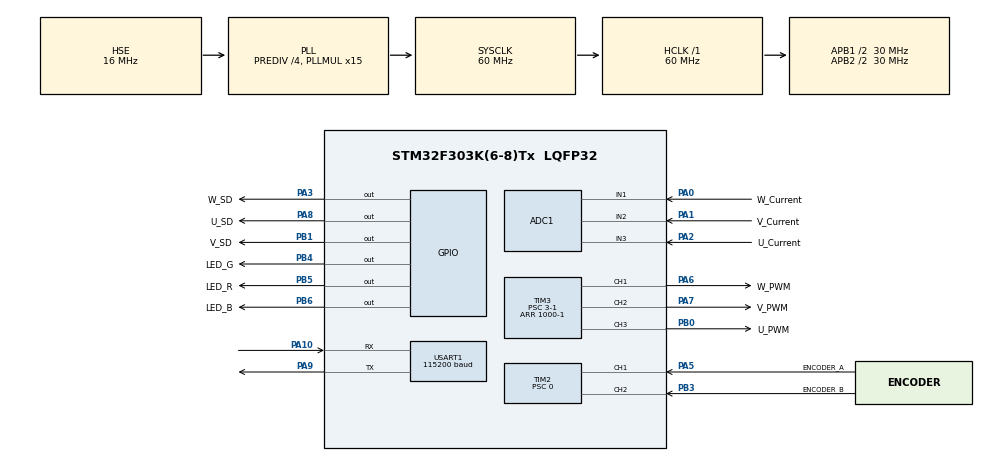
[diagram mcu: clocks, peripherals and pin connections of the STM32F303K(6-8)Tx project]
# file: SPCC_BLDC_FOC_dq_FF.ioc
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ADC1.Channel-0\#ChannelRegularConversion=ADC_CHANNEL_1
ADC1.Channel-1\#ChannelRegularConversion=ADC_CHANNEL_2
ADC1.Channel-2\#ChannelRegularConversion=ADC_CHANNEL_3
ADC1.DMAContinuousRequests=ENABLE
ADC1.EOCSelection=ADC_EOC_SEQ_CONV
ADC1.ExternalTrigConv=ADC_EXTERNALTRIGCONV_T3_TRGO
ADC1.NbrOfConversion=3
ADC1.NbrOfConversionFlag=1
ADC1.Offset-1\#ChannelRegularConversion=0
ADC1.Offset-2\#ChannelRegularConversion=0
ADC1.OffsetNumber-1\#ChannelRegularConversion=ADC_OFFSET_NONE
ADC1.OffsetNumber-2\#ChannelRegularConversion=ADC_OFFSET_NONE
ADC1.Rank-1\#ChannelRegularConversion=2
ADC1.Rank-2\#ChannelRegularConversion=3
ADC1.SamplingTime-0\#ChannelRegularConversion=ADC_SAMPLETIME_19CYCLES_5
ADC1.SamplingTime-1\#ChannelRegularConversion=ADC_SAMPLETIME_19CYCLES_5
ADC1.SamplingTime-2\#ChannelRegularConversion=ADC_SAMPLETIME_19CYCLES_5
ADC1.SubFamily=STM32F303x8
ADC1.master=1
Dma.ADC1.0.Direction=DMA_PERIPH_TO_MEMORY
Dma.ADC1.0.Instance=DMA1_Channel1
Dma.ADC1.0.MemDataAlignment=DMA_MDATAALIGN_HALFWORD
Dma.ADC1.0.MemInc=DMA_MINC_ENABLE
Dma.ADC1.0.Mode=DMA_CIRCULAR
Dma.ADC1.0.PeriphDataAlignment=DMA_PDATAALIGN_HALFWORD
Dma.ADC1.0.PeriphInc=DMA_PINC_DISABLE
Dma.ADC1.0.Priority=DMA_PRIORITY_LOW
Dma.Request0=ADC1
Mcu.Family=STM32F3
Mcu.Name=STM32F303K(6-8)Tx
Mcu.Package=LQFP32
NVIC.DMA1_Channel1_IRQn=true\:1\:0\:true\:false\:true\:false\:true\:true
NVIC.PriorityGroup=NVIC_PRIORITYGROUP_4
NVIC.TIM1_UP_TIM16_IRQn=true\:0\:0\:false\:false\:true\:true\:true\:true
NVIC.TIM3_IRQn=true\:0\:0\:false\:false\:true\:true\:true\:true
PA0.GPIO_Label=W_Current
PA0.Mode=IN1-Single-Ended
PA0.Signal=ADC1_IN1
PA1.GPIO_Label=V_Current
PA1.GPIO_Mode=GPIO_MODE_ANALOG
PA1.GPIO_PuPd=GPIO_NOPULL
PA1.Mode=IN2-Single-Ended
PA1.Signal=ADC1_IN2
PA10.Mode=Asynchronous
PA10.Signal=USART1_RX
PA13.Mode=Serial_Wire
PA13.Signal=SYS_JTMS-SWDIO
PA14.Mode=Serial_Wire
PA14.Signal=SYS_JTCK-SWCLK
PA2.GPIO_Label=U_Current
PA2.GPIO_Mode=GPIO_MODE_ANALOG
PA2.GPIO_PuPd=GPIO_NOPULL
PA2.Mode=IN3-Single-Ended
PA2.Signal=ADC1_IN3
PA3.GPIO_Label=W_SD
PA3.Signal=GPIO_Output
PA5.GPIO_Label=ENCODER_A
PA5.GPIO_PuPd=GPIO_PULLUP
PA5.Signal=S_TIM2_CH1_ETR
PA6.GPIO_Label=W_PWM
PA6.Signal=S_TIM3_CH1
PA7.GPIO_Label=V_PWM
PA7.Signal=S_TIM3_CH2
PA8.GPIO_Label=U_SD
PA8.Signal=GPIO_Output
PA9.Mode=Asynchronous
PA9.Signal=USART1_TX
PB0.GPIO_Label=U_PWM
PB0.Signal=S_TIM3_CH3
PB1.GPIO_Label=V_SD
PB1.Signal=GPIO_Output
PB3.GPIO_Label=ENCODER_B
PB3.GPIO_PuPd=GPIO_PULLUP
PB3.Signal=S_TIM2_CH2
PB4.GPIO_Label=LED_G
PB4.Signal=GPIO_Output
PB5.GPIO_Label=LED_R
PB5.Signal=GPIO_Output
PB6.GPIO_Label=LED_B
PB6.Signal=GPIO_Output
PF0\ /\ OSC_IN.Mode=HSE-External-Oscillator
PF0\ /\ OSC_IN.Signal=RCC_OSC_IN
PF1\ /\ OSC_OUT.Mode=HSE-External-Oscillator
PF1\ /\ OSC_OUT.Signal=RCC_OSC_OUT
ProjectManager.HeapSize=0x200
ProjectManager.StackSize=0x400
ProjectManager.TargetToolchain=STM32CubeIDE
RCC.AHBFreq_Value=60000000
RCC.APB1CLKDivider=RCC_HCLK_DIV2
RCC.APB1Freq_Value=30000000
RCC.APB1TimFreq_Value=60000000
RCC.APB2CLKDivider=RCC_HCLK_DIV2
RCC.APB2Freq_Value=30000000
RCC.APB2TimFreq_Value=60000000
RCC.CortexFreq_Value=60000000
RCC.HCLKFreq_Value=60000000
RCC.HSE_VALUE=16000000
RCC.HSI_VALUE=8000000
RCC.PLLMUL=RCC_PLL_MUL15
RCC.PLLSourceVirtual=RCC_PLLSOURCE_HSE
RCC.RCC_PLLsource_Clock_Source_FROM_HSE=RCC_HSE_PREDIV_DIV4
RCC.SYSCLKFreq_VALUE=60000000
RCC.SYSCLKSourceVirtual=RCC_SYSCLKSOURCE_PLLCLK
SH.S_TIM2_CH1_ETR.0=TIM2_CH1,Encoder_Interface
SH.S_TIM2_CH2.0=TIM2_CH2,Encoder_Interface
SH.S_TIM3_CH1.0=TIM3_CH1,PWM Generation1 CH1
SH.S_TIM3_CH2.0=TIM3_CH2,PWM Generation2 CH2
SH.S_TIM3_CH3.0=TIM3_CH3,PWM Generation3 CH3
TIM1.Period=1000-1
TIM1.Prescaler=60-1
TIM2.EncoderMode=TIM_ENCODERMODE_TI12
TIM2.IC1Filter=5
TIM2.IC1Polarity=TIM_ICPOLARITY_FALLING
TIM2.IC1Prescaler=TIM_ICPSC_DIV1
TIM2.IC2Filter=5
TIM2.IC2Polarity=TIM_ICPOLARITY_RISING
TIM2.IC2Prescaler=TIM_ICPSC_DIV1
TIM2.Period=20480 -1
TIM2.Prescaler=0
TIM3.Channel-PWM\ Generation1\ CH1=TIM_CHANNEL_1
TIM3.Channel-PWM\ Generation2\ CH2=TIM_CHANNEL_2
TIM3.Channel-PWM\ Generation3\ CH3=TIM_CHANNEL_3
TIM3.CounterMode=TIM_COUNTERMODE_CENTERALIGNED1
TIM3.Period=1000-1
TIM3.Prescaler=3-1
TIM3.TIM_MasterOutputTrigger=TIM_TRGO_UPDATE
TIM3.TIM_MasterSlaveMode=TIM_MASTERSLAVEMODE_ENABLE
USART1.BaudRate=115200
USART1.VirtualMode-Asynchronous=VM_ASYNC
VP_TIM1_VS_ClockSourceINT.Mode=Internal
VP_TIM3_VS_ClockSourceINT.Mode=Internal
board=custom

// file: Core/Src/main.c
/* USER CODE BEGIN Header */
/**
  ******************************************************************************
  * @file           : main.c
  * @brief          : Main program body
  ******************************************************************************
  * @attention
  *
  * Copyright (c) 2026 STMicroelectronics.
  * All rights reserved.
  *
  * This software is licensed under terms that can be found in the LICENSE file
  * in the root directory of this software component.
  * If no LICENSE file comes with this software, it is provided AS-IS.
  *
  ******************************************************************************
  */
/* USER CODE END Header */
#include "main.h"

/* USER CODE BEGIN Includes */

#include <stdio.h>
#include <math.h>
#include <stdbool.h>

/* USER CODE END Includes */

/* USER CODE BEGIN PTD */

typedef struct{
	float kp;
	float ki;
	float goal;
	float now_value;
	float error;
	float error_integral;
	float error_integral_temp;
	float integral_limit;
}PI_t;

typedef struct{
	float kp;
	float ki;
	float kd;
	float goal;
	float now_value;
	float error;
	float error_old;
	float error_integral;
	float error_integral_temp;
	float integral_limit;
}PID_t;

/* USER CODE END PTD */

/* USER CODE BEGIN PM */

//PWMの使用タイマ
#define MOTOR_PWM_TIMER htim3
//各チャンネル
#define U_PHASE_PWM_CHANNEL TIM_CHANNEL_3
#define V_PHASE_PWM_CHANNEL TIM_CHANNEL_2
#define W_PHASE_PWM_CHANNEL TIM_CHANNEL_1

//PWM出力関数
#define SET_PWM_DUTY(PHASE, DUTY) __HAL_TIM_SET_COMPARE(&MOTOR_PWM_TIMER, PHASE##_PHASE_PWM_CHANNEL, DUTY)

#define SQRT3_OVER_2 0.8660254f
#define ONE_OVER_SQRT3 0.57735026f
#define PI 3.1415f

/* USER CODE END PM */

ADC_HandleTypeDef hadc1;
DMA_HandleTypeDef hdma_adc1;

TIM_HandleTypeDef htim1;
TIM_HandleTypeDef htim2;
TIM_HandleTypeDef htim3;

UART_HandleTypeDef huart1;

/* USER CODE BEGIN PV */

/*	モーターの定数	*/
//極対数
int pole_pairs = 11;

/*	角度関係	*/
//現在のエンコーダーのカウント
uint16_t cnt_now = 0;

//1回前のエンコーダーのカウント
uint16_t cnt_old = 0;

//回転した回数
int revolution_count = 0;

//エンコーダーが1回のループでどれだけ回転したら1回転したとみなすかのしきい値
int revolution_threshold_num = 10000;

//現在のラジアン角
float degree = 0;

//現在のラジアン機械角
float degree_e = 0;

//機械角に対するsin,cos
float degree_e_sin = 0;
float degree_e_cos = 0;

/*	電流センシング関係	   */

//DMAから送られてくる生のDMAの値
volatile uint16_t adc_raw[3] = {0};

//モーター停止時の電流センサにかかるオフセット電圧
int adc_offset[3] = {0};

//オフセットの平均値の計算に使用
int offset_count = 0;
int offset_ave_num = 30;
volatile bool offset_done_flag = false;

//現在の電流値
volatile float I_u = 0;
volatile float I_v = 0;
volatile float I_w = 0;

//電流の総和
float I_sum = 0;

/* ベクトル制御用変数 */
//dq電流
float Id = 0.0;
float Iq = 0.0;

//αβ電流
float Ia = 0.0;
float Ib = 0.0;

//dq電圧
float Vd = 0.0;
float Vq = 0.0;

//αβ電圧
float Va = 0.0;
float Vb = 0.0;

//PWM
int U_PWM = 0;
int V_PWM = 0;
int W_PWM = 0;

int Amp_PWM_MAX = 300;

//PI制御用構造体
PI_t Id_PI;
PI_t Iq_PI;

volatile bool tim1_flag = false;
volatile bool tim3_flag = false;
volatile bool zero_set_flag = false;

//ログ用
#define LOG_SIZE 500
float dq_log[2][LOG_SIZE] = {0};
int log_index = 0;
int log_prescaler = 0;
volatile bool logging_active = false;

/*	位置PID用変数	*/
PID_t Place_PID;

float test_theta = 0.0;

/* USER CODE END PV */

void SystemClock_Config(void);
static void MX_GPIO_Init(void);
static void MX_DMA_Init(void);
static void MX_ADC1_Init(void);
static void MX_TIM3_Init(void);
static void MX_USART1_UART_Init(void);
static void MX_TIM2_Init(void);
static void MX_TIM1_Init(void);
/* USER CODE BEGIN PFP */
int constrain(int num, int min, int max);
float constrainf(float num, float min, float max);
int _write(int file, char *ptr, int len);
void clarke_transform(void);
void park_transform(void);
void inv_clarke_transform(void);
void inv_park_transform(void);
float PI_Control(PI_t *hPI);
/* USER CODE END PFP */

/* USER CODE BEGIN 0 */

int constrain(int num, int min, int max){
	if(num > max){
		return max;
	}
	else if(min > num){
		return min;
	}
	else{
		return num;
	}
}

float constrainf(float num, float min, float max){
	if(num > max){
		return max;
	}
	else if(min > num){
		return min;
	}
	else{
		return num;
	}
}

//printfおまじない
int _write(int file, char *ptr, int len)
{
  HAL_UART_Transmit(&huart1,(uint8_t *)ptr,len,10);
  return len;
}

void HAL_TIM_PeriodElapsedCallback(TIM_HandleTypeDef *htim)
{
    if(htim == &htim1){
    	tim1_flag = true;
    }

    if(htim == &htim3){
    	tim3_flag = true;
    }
}

//ADCのDAM割り込み！
void HAL_ADC_ConvCpltCallback(ADC_HandleTypeDef* hadc)
{
    if (hadc->Instance == ADC1 && !zero_set_flag) {
    	if(__HAL_TIM_GET_COUNTER(&htim3) < 500){
        	//オフセット検出モードか、電流センシングモードか
        	if(offset_done_flag == false){
        		adc_offset[0] += adc_raw[0];
        		adc_offset[1] += adc_raw[1];
        		adc_offset[2] += adc_raw[2];

        		offset_count++;

        		if(offset_count >= offset_ave_num){
    				adc_offset[0] = adc_offset[0] / offset_ave_num;
    				adc_offset[1] = adc_offset[1] / offset_ave_num;
    				adc_offset[2] = adc_offset[2] / offset_ave_num;
        			offset_done_flag = true;
        		}
        	}
        	else{
        		//(3.3 / 4096.0)) / 0.05 = 0.01611
        		I_u = (float)(adc_raw[2] - adc_offset[2]) * 0.01611f;
        		I_v = (float)(adc_raw[1] - adc_offset[1]) * 0.01611f;
        		I_w = (float)(adc_raw[0] - adc_offset[0]) * 0.01611f;
        		I_sum = I_u + I_v + I_w;

				/*	現在のカウントを取得	*/
				cnt_now = __HAL_TIM_GET_COUNTER(&htim2);

				/*	ラジアン角を算出して、ついでに電気角も算出！	*/
				degree = (float)(cnt_now / 20480.0f) * 2.0f * PI;
				degree_e = (float)degree * (float)pole_pairs;
				degree_e_sin = sinf(degree_e);
				degree_e_cos = cosf(degree_e);

				HAL_GPIO_TogglePin(LED_R_GPIO_Port, LED_R_Pin);

				//Iu,Iv,Iw -> Iα,Iβ
				clarke_transform();
				//Iα,Iβ -> Id,Iq
				park_transform();

				//Id,IqをPI制御
				Vd = PI_Control(&Id_PI);
				Vq = PI_Control(&Iq_PI);

				// ★ ログ記録 (10kHzを100Hzに間引いて500件保存)
				if (logging_active && log_index < LOG_SIZE) {
					log_prescaler++;
					if (log_prescaler >= 100) {
						log_prescaler = 0;
						dq_log[0][log_index] = Id;
						dq_log[1][log_index] = Iq;
						log_index++;
					}
				}

				//Vd,Vq -> Vα,Vβ
				inv_park_transform();

				Va = Va * (500.0f / 12.0f);
				Vb = Vb * (500.0f / 12.0f);

				//Vα,Vβ -> Vu,Vv,Vw
				inv_clarke_transform();

				U_PWM = constrain(U_PWM, -Amp_PWM_MAX, Amp_PWM_MAX);
				V_PWM = constrain(V_PWM, -Amp_PWM_MAX, Amp_PWM_MAX);
				W_PWM = constrain(W_PWM, -Amp_PWM_MAX, Amp_PWM_MAX);

				//PWMをセット
				SET_PWM_DUTY(U, 500 + U_PWM);
				SET_PWM_DUTY(V, 500 + V_PWM);
				SET_PWM_DUTY(W, 500 + W_PWM);
        	}
    	}
    }
}

//clarke変換
void clarke_transform(){
	Ia = I_u;
	Ib = (I_u + 2.0f * I_v) * ONE_OVER_SQRT3;
}

//park変換
void park_transform(){
	Id = Ia * degree_e_cos + Ib * degree_e_sin;
	Iq = -Ia * degree_e_sin + Ib * degree_e_cos;

	Id_PI.now_value = Id;
	Iq_PI.now_value = Iq;
}

//逆clarke変換
void inv_clarke_transform(){
	U_PWM = (int)Va;
	V_PWM = (int)((SQRT3_OVER_2 * Vb - Va * 0.5f));
	W_PWM = (int)((-SQRT3_OVER_2 * Vb - Va * 0.5f));
}

//逆park変換
void inv_park_transform(){
	Va = Vd * degree_e_cos - Vq * degree_e_sin;
	Vb = Vd * degree_e_sin + Vq * degree_e_cos;
}

//PI制御
float PI_Control(PI_t *hPI){
	hPI->error = hPI->goal - hPI->now_value;
	hPI->error_integral += hPI->error * hPI->ki;

	// アンチワインドアップ（本体を直接制限する）
	if(hPI->error_integral > hPI->integral_limit){
		hPI->error_integral = hPI->integral_limit;
	}
	else if(hPI->error_integral < -hPI->integral_limit){
		hPI->error_integral = -hPI->integral_limit;
	}

	return (hPI->kp * hPI->error + hPI->error_integral);
}

/* USER CODE END 0 */

int main(void)
{

  /* USER CODE BEGIN 1 */
  setbuf(stdout, NULL);
  /* USER CODE END 1 */

  /* MCU Configuration--------------------------------------------------------*/

  /* Reset of all peripherals, Initializes the Flash interface and the Systick. */
  HAL_Init();

  /* Configure the system clock */
  SystemClock_Config();

  /* Initialize all configured peripherals */
  MX_GPIO_Init();
  MX_DMA_Init();
  MX_ADC1_Init();
  MX_TIM3_Init();
  MX_USART1_UART_Init();
  MX_TIM2_Init();
  MX_TIM1_Init();
  /* USER CODE BEGIN 2 */

  /*	前処理スタート	*/

  HAL_Delay(5000);

  //全IR2302をロック(安全のため！)
  HAL_GPIO_WritePin(U_SD_GPIO_Port, U_SD_Pin, RESET);
  HAL_GPIO_WritePin(V_SD_GPIO_Port, V_SD_Pin, RESET);
  HAL_GPIO_WritePin(W_SD_GPIO_Port, W_SD_Pin, RESET);

  //ADCのキャリブレーション
  HAL_ADCEx_Calibration_Start(&hadc1, ADC_SINGLE_ENDED);

  //PWMスタート
  HAL_TIM_PWM_Start(&MOTOR_PWM_TIMER, U_PHASE_PWM_CHANNEL);
  HAL_TIM_PWM_Start(&MOTOR_PWM_TIMER, V_PHASE_PWM_CHANNEL);
  HAL_TIM_PWM_Start(&MOTOR_PWM_TIMER, W_PHASE_PWM_CHANNEL);

  //全IR2302のロックを解除
  HAL_GPIO_WritePin(U_SD_GPIO_Port, U_SD_Pin, SET);
  HAL_GPIO_WritePin(V_SD_GPIO_Port, V_SD_Pin, SET);
  HAL_GPIO_WritePin(W_SD_GPIO_Port, W_SD_Pin, SET);

  //回転を固定
  SET_PWM_DUTY(U, 500);
  SET_PWM_DUTY(V, 500);
  SET_PWM_DUTY(W, 500);

  //ADCをDMAモードで待機！
  if (HAL_ADC_Start_DMA(&hadc1, (uint32_t*)adc_raw, 3) != HAL_OK)
  {
	  Error_Handler();
  }

  while(offset_done_flag == false){
	  //オフセット電圧検出待ち...
  }

  zero_set_flag = true;

  /*	電気角のリセット	*/

  //電流方向U->Vのときを電気角0[rad]と定義
  SET_PWM_DUTY(U, 700);
  SET_PWM_DUTY(V, 500);
  SET_PWM_DUTY(W, 500);

  //固定待ち...
  HAL_Delay(700);

  zero_set_flag = false;

  //0カウントをセット
  __HAL_TIM_SET_COUNTER(&htim2, 0);

  //エンコーダースタート！
  HAL_TIM_Encoder_Start(&htim2, TIM_CHANNEL_ALL);

  //全IR2302のロックを解除
  HAL_GPIO_WritePin(U_SD_GPIO_Port, U_SD_Pin, SET);
  HAL_GPIO_WritePin(V_SD_GPIO_Port, V_SD_Pin, SET);
  HAL_GPIO_WritePin(W_SD_GPIO_Port, W_SD_Pin, SET);

  //回転を固定
  SET_PWM_DUTY(U, 500);
  SET_PWM_DUTY(V, 500);
  SET_PWM_DUTY(W, 500);

  //制御用タイマ割り込みスタート
  HAL_TIM_Base_Start_IT(&htim1);
  __HAL_TIM_ENABLE_IT(&htim3, TIM_IT_UPDATE);
  /*	FOCスタート		*/

  //d軸電流のパラメータを設定
  Id_PI.goal = 0.0f;
  Id_PI.kp = 2.0f;
  Id_PI.ki = 0.7f;
  Id_PI.integral_limit = 10.0f;

  //q軸電流のパラメータを設定
  Iq_PI.goal = 1.0f;
  Iq_PI.kp = 2.0f;
  Iq_PI.ki = 0.7f;
  Iq_PI.integral_limit = 10.0f;

  // ログ記録スタート
	logging_active = true;

	// 5秒間FOCで回す
	HAL_Delay(5000);

	// 5秒経過したら止める（安全のためにIq=0にしてIR2302をシャットダウン）
	logging_active = false;
	Iq_PI.goal = 0.0f;

	HAL_GPIO_WritePin(U_SD_GPIO_Port, U_SD_Pin, RESET);
	HAL_GPIO_WritePin(V_SD_GPIO_Port, V_SD_Pin, RESET);
	HAL_GPIO_WritePin(W_SD_GPIO_Port, W_SD_Pin, RESET);
	SET_PWM_DUTY(U, 0);
	SET_PWM_DUTY(V, 0);
	SET_PWM_DUTY(W, 0);

	// 溜め込んだdq軸電流のログをUARTで一気に吐き出す
	printf("Id, Iq\r\n");
	for(int i = 0; i < LOG_SIZE; i++){
		printf("%f, %f\r\n", dq_log[0][i], dq_log[1][i]);
		HAL_Delay(2); // UARTのバッファ溢れ（文字化け）防止
	}
  /* USER CODE END 2 */

  /* Infinite loop */
  while (1)
  {

  }
}

void SystemClock_Config(void)
{
  RCC_OscInitTypeDef RCC_OscInitStruct = {0};
  RCC_ClkInitTypeDef RCC_ClkInitStruct = {0};
  RCC_PeriphCLKInitTypeDef PeriphClkInit = {0};

  /** Initializes the RCC Oscillators according to the specified parameters
  * in the RCC_OscInitTypeDef structure.
  */
  RCC_OscInitStruct.OscillatorType = RCC_OSCILLATORTYPE_HSE;
  RCC_OscInitStruct.HSEState = RCC_HSE_ON;
  RCC_OscInitStruct.HSEPredivValue = RCC_HSE_PREDIV_DIV4;
  RCC_OscInitStruct.HSIState = RCC_HSI_ON;
  RCC_OscInitStruct.PLL.PLLState = RCC_PLL_ON;
  RCC_OscInitStruct.PLL.PLLSource = RCC_PLLSOURCE_HSE;
  RCC_OscInitStruct.PLL.PLLMUL = RCC_PLL_MUL15;
  if (HAL_RCC_OscConfig(&RCC_OscInitStruct) != HAL_OK)
  {
    Error_Handler();
  }

  /** Initializes the CPU, AHB and APB buses clocks
  */
  RCC_ClkInitStruct.ClockType = RCC_CLOCKTYPE_HCLK|RCC_CLOCKTYPE_SYSCLK
                              |RCC_CLOCKTYPE_PCLK1|RCC_CLOCKTYPE_PCLK2;
  RCC_ClkInitStruct.SYSCLKSource = RCC_SYSCLKSOURCE_PLLCLK;
  RCC_ClkInitStruct.AHBCLKDivider = RCC_SYSCLK_DIV1;
  RCC_ClkInitStruct.APB1CLKDivider = RCC_HCLK_DIV2;
  RCC_ClkInitStruct.APB2CLKDivider = RCC_HCLK_DIV2;

  if (HAL_RCC_ClockConfig(&RCC_ClkInitStruct, FLASH_LATENCY_2) != HAL_OK)
  {
    Error_Handler();
  }
  PeriphClkInit.PeriphClockSelection = RCC_PERIPHCLK_USART1|RCC_PERIPHCLK_TIM1
                              |RCC_PERIPHCLK_ADC12;
  PeriphClkInit.Usart1ClockSelection = RCC_USART1CLKSOURCE_PCLK1;
  PeriphClkInit.Adc12ClockSelection = RCC_ADC12PLLCLK_DIV1;
  PeriphClkInit.Tim1ClockSelection = RCC_TIM1CLK_HCLK;
  if (HAL_RCCEx_PeriphCLKConfig(&PeriphClkInit) != HAL_OK)
  {
    Error_Handler();
  }
}

static void MX_ADC1_Init(void)
{

  ADC_MultiModeTypeDef multimode = {0};
  ADC_ChannelConfTypeDef sConfig = {0};

  /** Common config
  */
  hadc1.Instance = ADC1;
  hadc1.Init.ClockPrescaler = ADC_CLOCK_ASYNC_DIV1;
  hadc1.Init.Resolution = ADC_RESOLUTION_12B;
  hadc1.Init.ScanConvMode = ADC_SCAN_ENABLE;
  hadc1.Init.ContinuousConvMode = DISABLE;
  hadc1.Init.DiscontinuousConvMode = DISABLE;
  hadc1.Init.ExternalTrigConvEdge = ADC_EXTERNALTRIGCONVEDGE_RISING;
  hadc1.Init.ExternalTrigConv = ADC_EXTERNALTRIGCONV_T3_TRGO;
  hadc1.Init.DataAlign = ADC_DATAALIGN_RIGHT;
  hadc1.Init.NbrOfConversion = 3;
  hadc1.Init.DMAContinuousRequests = ENABLE;
  hadc1.Init.EOCSelection = ADC_EOC_SEQ_CONV;
  hadc1.Init.LowPowerAutoWait = DISABLE;
  hadc1.Init.Overrun = ADC_OVR_DATA_OVERWRITTEN;
  if (HAL_ADC_Init(&hadc1) != HAL_OK)
  {
    Error_Handler();
  }

  /** Configure the ADC multi-mode
  */
  multimode.Mode = ADC_MODE_INDEPENDENT;
  if (HAL_ADCEx_MultiModeConfigChannel(&hadc1, &multimode) != HAL_OK)
  {
    Error_Handler();
  }

  /** Configure Regular Channel
  */
  sConfig.Channel = ADC_CHANNEL_2;
  sConfig.Rank = ADC_REGULAR_RANK_2;
  sConfig.SingleDiff = ADC_SINGLE_ENDED;
  sConfig.SamplingTime = ADC_SAMPLETIME_19CYCLES_5;
  sConfig.OffsetNumber = ADC_OFFSET_NONE;
  sConfig.Offset = 0;
  if (HAL_ADC_ConfigChannel(&hadc1, &sConfig) != HAL_OK)
  {
    Error_Handler();
  }

  /** Configure Regular Channel
  */
  sConfig.Channel = ADC_CHANNEL_3;
  sConfig.Rank = ADC_REGULAR_RANK_3;
  if (HAL_ADC_ConfigChannel(&hadc1, &sConfig) != HAL_OK)
  {
    Error_Handler();
  }

  /** Configure Regular Channel
  */
  sConfig.Channel = ADC_CHANNEL_1;
  sConfig.Rank = ADC_REGULAR_RANK_1;
  if (HAL_ADC_ConfigChannel(&hadc1, &sConfig) != HAL_OK)
  {
    Error_Handler();
  }

}

static void MX_TIM1_Init(void)
{

  TIM_ClockConfigTypeDef sClockSourceConfig = {0};
  TIM_MasterConfigTypeDef sMasterConfig = {0};

  htim1.Instance = TIM1;
  htim1.Init.Prescaler = 60-1;
  htim1.Init.CounterMode = TIM_COUNTERMODE_UP;
  htim1.Init.Period = 1000-1;
  htim1.Init.ClockDivision = TIM_CLOCKDIVISION_DIV1;
  htim1.Init.RepetitionCounter = 0;
  htim1.Init.AutoReloadPreload = TIM_AUTORELOAD_PRELOAD_DISABLE;
  if (HAL_TIM_Base_Init(&htim1) != HAL_OK)
  {
    Error_Handler();
  }
  sClockSourceConfig.ClockSource = TIM_CLOCKSOURCE_INTERNAL;
  if (HAL_TIM_ConfigClockSource(&htim1, &sClockSourceConfig) != HAL_OK)
  {
    Error_Handler();
  }
  sMasterConfig.MasterOutputTrigger = TIM_TRGO_RESET;
  sMasterConfig.MasterOutputTrigger2 = TIM_TRGO2_RESET;
  sMasterConfig.MasterSlaveMode = TIM_MASTERSLAVEMODE_DISABLE;
  if (HAL_TIMEx_MasterConfigSynchronization(&htim1, &sMasterConfig) != HAL_OK)
  {
    Error_Handler();
  }

}

static void MX_TIM2_Init(void)
{

  TIM_Encoder_InitTypeDef sConfig = {0};
  TIM_MasterConfigTypeDef sMasterConfig = {0};

  htim2.Instance = TIM2;
  htim2.Init.Prescaler = 0;
  htim2.Init.CounterMode = TIM_COUNTERMODE_UP;
  htim2.Init.Period = 20480 -1;
  htim2.Init.ClockDivision = TIM_CLOCKDIVISION_DIV1;
  htim2.Init.AutoReloadPreload = TIM_AUTORELOAD_PRELOAD_DISABLE;
  sConfig.EncoderMode = TIM_ENCODERMODE_TI12;
  sConfig.IC1Polarity = TIM_ICPOLARITY_FALLING;
  sConfig.IC1Selection = TIM_ICSELECTION_DIRECTTI;
  sConfig.IC1Prescaler = TIM_ICPSC_DIV1;
  sConfig.IC1Filter = 5;
  sConfig.IC2Polarity = TIM_ICPOLARITY_RISING;
  sConfig.IC2Selection = TIM_ICSELECTION_DIRECTTI;
  sConfig.IC2Prescaler = TIM_ICPSC_DIV1;
  sConfig.IC2Filter = 5;
  if (HAL_TIM_Encoder_Init(&htim2, &sConfig) != HAL_OK)
  {
    Error_Handler();
  }
  sMasterConfig.MasterOutputTrigger = TIM_TRGO_RESET;
  sMasterConfig.MasterSlaveMode = TIM_MASTERSLAVEMODE_DISABLE;
  if (HAL_TIMEx_MasterConfigSynchronization(&htim2, &sMasterConfig) != HAL_OK)
  {
    Error_Handler();
  }

}

static void MX_TIM3_Init(void)
{

  TIM_ClockConfigTypeDef sClockSourceConfig = {0};
  TIM_MasterConfigTypeDef sMasterConfig = {0};
  TIM_OC_InitTypeDef sConfigOC = {0};

  htim3.Instance = TIM3;
  htim3.Init.Prescaler = 3-1;
  htim3.Init.CounterMode = TIM_COUNTERMODE_CENTERALIGNED1;
  htim3.Init.Period = 1000-1;
  htim3.Init.ClockDivision = TIM_CLOCKDIVISION_DIV1;
  htim3.Init.AutoReloadPreload = TIM_AUTORELOAD_PRELOAD_DISABLE;
  if (HAL_TIM_Base_Init(&htim3) != HAL_OK)
  {
    Error_Handler();
  }
  sClockSourceConfig.ClockSource = TIM_CLOCKSOURCE_INTERNAL;
  if (HAL_TIM_ConfigClockSource(&htim3, &sClockSourceConfig) != HAL_OK)
  {
    Error_Handler();
  }
  if (HAL_TIM_PWM_Init(&htim3) != HAL_OK)
  {
    Error_Handler();
  }
  sMasterConfig.MasterOutputTrigger = TIM_TRGO_UPDATE;
  sMasterConfig.MasterSlaveMode = TIM_MASTERSLAVEMODE_ENABLE;
  if (HAL_TIMEx_MasterConfigSynchronization(&htim3, &sMasterConfig) != HAL_OK)
  {
    Error_Handler();
  }
  sConfigOC.OCMode = TIM_OCMODE_PWM1;
  sConfigOC.Pulse = 0;
  sConfigOC.OCPolarity = TIM_OCPOLARITY_HIGH;
  sConfigOC.OCFastMode = TIM_OCFAST_DISABLE;
  if (HAL_TIM_PWM_ConfigChannel(&htim3, &sConfigOC, TIM_CHANNEL_1) != HAL_OK)
  {
    Error_Handler();
  }
  if (HAL_TIM_PWM_ConfigChannel(&htim3, &sConfigOC, TIM_CHANNEL_2) != HAL_OK)
  {
    Error_Handler();
  }
  if (HAL_TIM_PWM_ConfigChannel(&htim3, &sConfigOC, TIM_CHANNEL_3) != HAL_OK)
  {
    Error_Handler();
  }
  HAL_TIM_MspPostInit(&htim3);

}

static void MX_USART1_UART_Init(void)
{

  huart1.Instance = USART1;
  huart1.Init.BaudRate = 115200;
  huart1.Init.WordLength = UART_WORDLENGTH_8B;
  huart1.Init.StopBits = UART_STOPBITS_1;
  huart1.Init.Parity = UART_PARITY_NONE;
  huart1.Init.Mode = UART_MODE_TX_RX;
  huart1.Init.HwFlowCtl = UART_HWCONTROL_NONE;
  huart1.Init.OverSampling = UART_OVERSAMPLING_16;
  huart1.Init.OneBitSampling = UART_ONE_BIT_SAMPLE_DISABLE;
  huart1.AdvancedInit.AdvFeatureInit = UART_ADVFEATURE_NO_INIT;
  if (HAL_UART_Init(&huart1) != HAL_OK)
  {
    Error_Handler();
  }

}

static void MX_DMA_Init(void)
{

  /* DMA controller clock enable */
  __HAL_RCC_DMA1_CLK_ENABLE();

  /* DMA interrupt init */
  /* DMA1_Channel1_IRQn interrupt configuration */
  HAL_NVIC_SetPriority(DMA1_Channel1_IRQn, 1, 0);
  HAL_NVIC_EnableIRQ(DMA1_Channel1_IRQn);

}

static void MX_GPIO_Init(void)
{
  GPIO_InitTypeDef GPIO_InitStruct = {0};

  /* GPIO Ports Clock Enable */
  __HAL_RCC_GPIOF_CLK_ENABLE();
  __HAL_RCC_GPIOA_CLK_ENABLE();
  __HAL_RCC_GPIOB_CLK_ENABLE();

  /*Configure GPIO pin Output Level */
  HAL_GPIO_WritePin(GPIOA, W_SD_Pin|U_SD_Pin, GPIO_PIN_RESET);

  /*Configure GPIO pin Output Level */
  HAL_GPIO_WritePin(GPIOB, V_SD_Pin|LED_G_Pin|LED_R_Pin|LED_B_Pin, GPIO_PIN_RESET);

  /*Configure GPIO pins : W_SD_Pin U_SD_Pin */
  GPIO_InitStruct.Pin = W_SD_Pin|U_SD_Pin;
  GPIO_InitStruct.Mode = GPIO_MODE_OUTPUT_PP;
  GPIO_InitStruct.Pull = GPIO_NOPULL;
  GPIO_InitStruct.Speed = GPIO_SPEED_FREQ_LOW;
  HAL_GPIO_Init(GPIOA, &GPIO_InitStruct);

  /*Configure GPIO pins : V_SD_Pin LED_G_Pin LED_R_Pin LED_B_Pin */
  GPIO_InitStruct.Pin = V_SD_Pin|LED_G_Pin|LED_R_Pin|LED_B_Pin;
  GPIO_InitStruct.Mode = GPIO_MODE_OUTPUT_PP;
  GPIO_InitStruct.Pull = GPIO_NOPULL;
  GPIO_InitStruct.Speed = GPIO_SPEED_FREQ_LOW;
  HAL_GPIO_Init(GPIOB, &GPIO_InitStruct);

}

void Error_Handler(void)
{
  __disable_irq();
  while (1)
  {
  }
}
